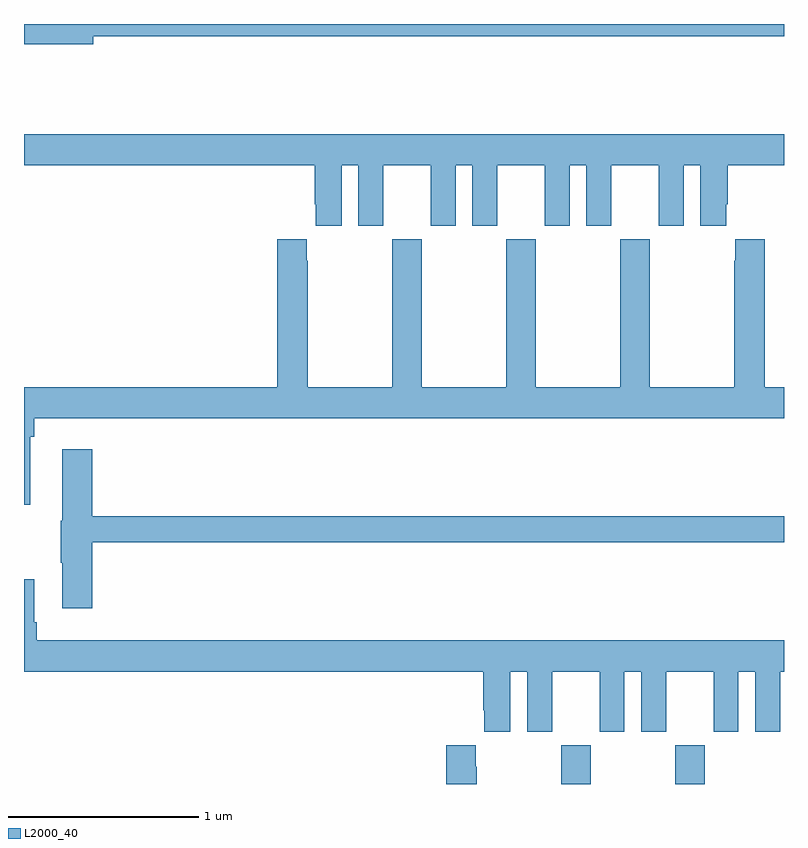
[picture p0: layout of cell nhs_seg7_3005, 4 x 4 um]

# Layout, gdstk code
import gdstk
lib = gdstk.Library(unit=1e-6, precision=1e-09)
def R(c, l, rs):  # rectangles x0, y0, x1, y1
    for r in rs: c.add(gdstk.rectangle(r[:2], r[2:], *l))
def P(c, l, *ps):  # polygons
    for p in ps: c.add(gdstk.Polygon(p, *l))
L2000_40 = (2000, 40)

nhs_seg7_3005 = lib.new_cell('nhs_seg7_3005')
R(nhs_seg7_3005, L2000_40, [(305.827,1024,305.982,1024.204), (306.427,1024,306.582,1024.204)])
P(nhs_seg7_3005, L2000_40, [(303.364,1027.936),(307,1027.936),(307,1028),(303,1028),(303,1027.894),(303.364,1027.894)],
  [(304.672,1027.256),(304.76,1027.256),(304.76,1026.939),(304.891,1026.939),(304.891,1027.256),(305.141,1027.256),(305.141,1026.939),(305.272,1026.939),(305.272,1027.256),(305.36,1027.256),(305.36,1026.939),(305.491,1026.939),(305.491,1027.256),(305.741,1027.256),(305.741,1026.939),(305.872,1026.939),(305.872,1027.256),(305.96,1027.256),(305.96,1026.939),(306.091,1026.939),(306.091,1027.256),(306.341,1027.256),(306.341,1026.939),(306.472,1026.939),(306.472,1027.256),(306.56,1027.256),(306.56,1026.939),(306.697,1026.939),(306.697,1027.051),(306.704,1027.051),(306.704,1027.256),(307,1027.256),(307,1027.42),(303,1027.42),(303,1027.256),(304.529,1027.256),(304.529,1027.051),(304.535,1027.051),(304.535,1026.939),(304.672,1026.939)],
  [(303.034,1025.828),(303.053,1025.828),(303.053,1025.924),(307,1025.924),(307,1026.088),(306.899,1026.088),(306.899,1026.868),(306.743,1026.868),(306.743,1026.755),(306.739,1026.755),(306.739,1026.088),(306.294,1026.088),(306.294,1026.868),(306.139,1026.868),(306.139,1026.088),(305.694,1026.088),(305.694,1026.868),(305.539,1026.868),(305.539,1026.088),(305.094,1026.088),(305.094,1026.868),(304.939,1026.868),(304.939,1026.088),(304.494,1026.088),(304.494,1026.755),(304.489,1026.755),(304.489,1026.868),(304.334,1026.868),(304.334,1026.088),(303,1026.088),(303,1025.469),(303.034,1025.469)],
  [(303.359,1025.272),(307,1025.272),(307,1025.408),(303.359,1025.408),(303.359,1025.761),(303.2,1025.761),(303.2,1025.385),(303.193,1025.385),(303.193,1025.164),(303.2,1025.164),(303.2,1024.926),(303.359,1024.926)],
  [(303.068,1024.852),(303.055,1024.852),(303.055,1025.077),(303,1025.077),(303,1024.592),(305.417,1024.592),(305.417,1024.387),(305.423,1024.387),(305.423,1024.275),(305.56,1024.275),(305.56,1024.592),(305.648,1024.592),(305.648,1024.275),(305.779,1024.275),(305.779,1024.592),(306.029,1024.592),(306.029,1024.275),(306.16,1024.275),(306.16,1024.592),(306.248,1024.592),(306.248,1024.275),(306.379,1024.275),(306.379,1024.592),(306.629,1024.592),(306.629,1024.275),(306.76,1024.275),(306.76,1024.592),(306.848,1024.592),(306.848,1024.275),(306.979,1024.275),(306.979,1024.592),(307,1024.592),(307,1024.756),(303.068,1024.756)],
  [(305.382,1024.091),(305.377,1024.091),(305.377,1024.204),(305.222,1024.204),(305.222,1024),(305.382,1024)])

lib.write_gds('nhs_seg7_3005.gds')
